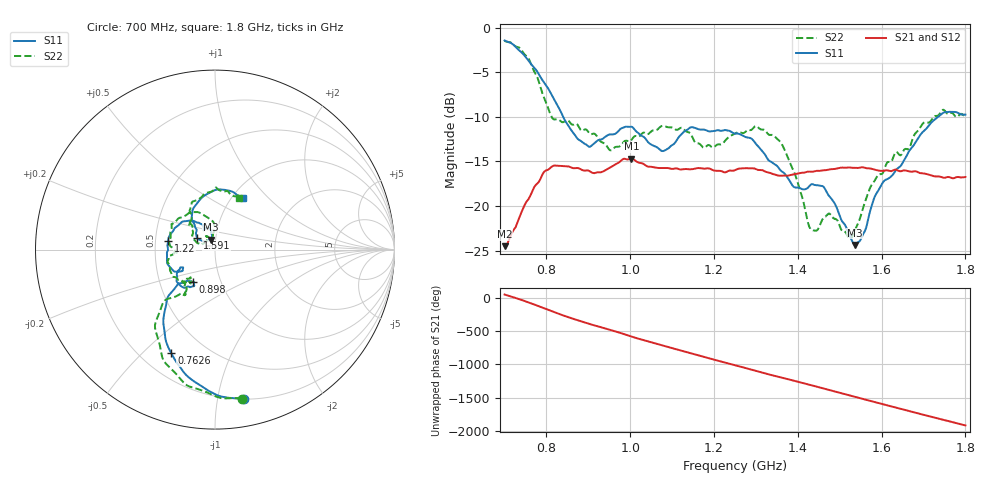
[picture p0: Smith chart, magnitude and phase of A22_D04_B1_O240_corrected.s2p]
! Created with skrf 1.9.0 (http://scikit-rf.org).
# Hz S RI R 50.0
!freq ReS11 ImS11 ReS21 ImS21 ReS12 ImS12 ReS22 ImS22
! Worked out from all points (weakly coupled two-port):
!   1601 points, 700 MHz to 1.8 GHz, reference 50 ohm
!   highest |S21| = -14.67 dB at 1.002 GHz (marker M1); lowest = -24.5 dB at 700.7 MHz (marker M2)
!   lowest |S11| = -24.3 dB at 1.536 GHz (marker M3), VSWR 1.13, Z = 47.4 + j5.29 ohm
!   |S11| at or under -10 dB: 839.7 MHz to 1.735 GHz (894.9 MHz wide, 69.5 % of centre)
!   |S22| runs from -23.7 to -1.5 dB; largest |S21 - S12| = 0.0035
!   S11 on the Smith chart (normalised r, x): 700 MHz: 0.20, -1.19; 762.6 MHz: 0.32, -0.61; 898 MHz: 0.73, -0.27; 1.22 GHz: 0.58, +0.06; 1.591 GHz: 0.81, +0.11; 1.8 GHz: 1.12, +0.72
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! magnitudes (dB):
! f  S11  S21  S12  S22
! 700 MHz  -1.4  -24.5  -24.3  -1.5
! 700.7 MHz  -1.5  -24.5  -24.2  -1.5
! 762.6 MHz  -4.1  -18.7  -18.7  -4.0
! 814.1 MHz  -7.7  -15.5  -15.6  -10.1
! 883.6 MHz  -12.8  -15.9  -15.8  -11.6
! 898 MHz  -13.2  -16.0  -16.1  -11.6
! 953 MHz  -12.0  -15.7  -15.6  -13.8
! 1.002 GHz  -11.1  -14.7  -14.8  -12.6
! 1.067 GHz  -13.5  -15.7  -15.7  -11.3
! 1.145 GHz  -11.2  -15.9  -15.9  -12.0
! 1.22 GHz  -11.5  -16.1  -16.2  -13.0
! 1.25 GHz  -11.9  -16.0  -15.9  -11.9
! 1.302 GHz  -13.1  -15.9  -15.8  -11.0
! 1.357 GHz  -15.9  -16.6  -16.5  -12.7
! 1.434 GHz  -17.5  -16.1  -16.1  -22.7
! 1.474 GHz  -18.8  -15.9  -15.9  -20.8
! 1.523 GHz  -23.2  -15.7  -15.7  -23.7
! 1.536 GHz  -24.3  -15.7  -15.7  -22.8
! 1.591 GHz  -18.3  -16.0  -16.0  -16.6
! 1.617 GHz  -16.9  -16.0  -16.0  -15.0
! 1.727 GHz  -10.3  -16.7  -16.6  -9.9
! 1.8 GHz  -9.7  -16.7  -16.7  -10.0
